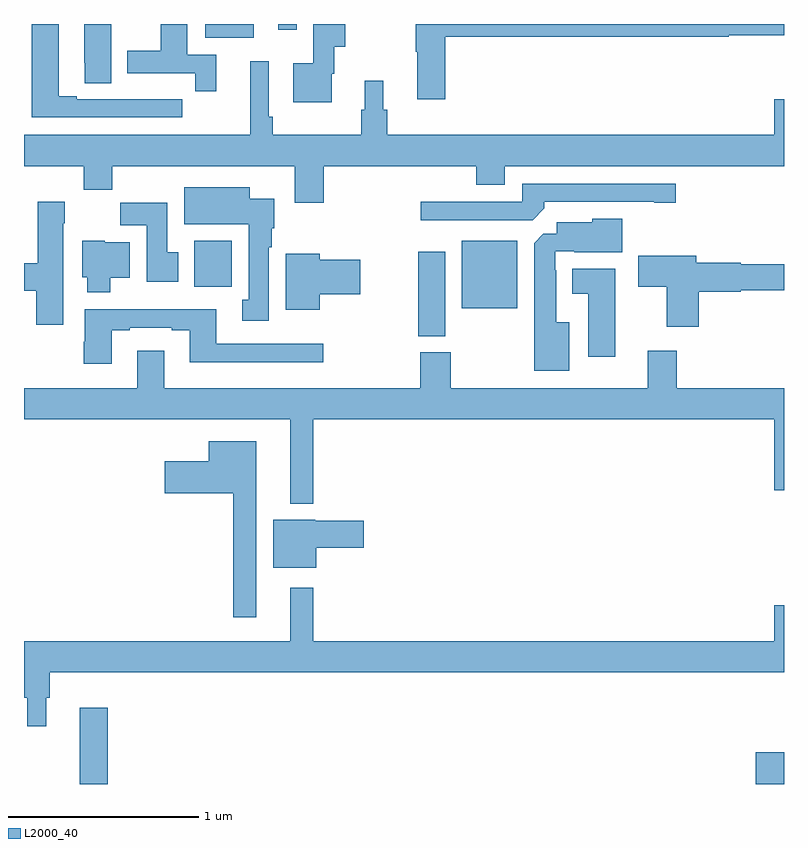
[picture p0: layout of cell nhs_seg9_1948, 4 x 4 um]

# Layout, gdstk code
import gdstk
lib = gdstk.Library(unit=1e-6, precision=1e-09)
def R(c, l, rs):  # rectangles x0, y0, x1, y1
    for r in rs: c.add(gdstk.rectangle(r[:2], r[2:], *l))
def P(c, l, *ps):  # polygons
    for p in ps: c.add(gdstk.Polygon(p, *l))
L2000_40 = (2000, 40)

nhs_seg9_1948 = lib.new_cell('nhs_seg9_1948')
R(nhs_seg9_1948, L2000_40, [(221.294,1194.5,221.441,1194.901), (224.85,1194.5,225,1194.666), (223.075,1196.857,223.216,1197.301), (223.304,1197.005,223.597,1197.358), (221.897,1197.116,222.094,1197.358), (221.954,1198.427,222.208,1198.5), (222.338,1198.47,222.435,1198.5)])
P(nhs_seg9_1948, L2000_40, [(222.011,1198.338),(221.86,1198.338),(221.86,1198.5),(221.72,1198.5),(221.72,1198.359),(221.543,1198.359),(221.543,1198.242),(221.902,1198.242),(221.902,1198.146),(222.011,1198.146)],
  [(222.621,1198.238),(222.634,1198.238),(222.634,1198.379),(222.69,1198.379),(222.69,1198.5),(222.523,1198.5),(222.523,1198.294),(222.416,1198.294),(222.416,1198.088),(222.621,1198.088)],
  [(223.217,1198.432),(224.71,1198.432),(224.71,1198.44),(225,1198.44),(225,1198.5),(223.063,1198.5),(223.063,1198.355),(223.07,1198.355),(223.07,1198.104),(223.217,1198.104)],
  [(221.458,1198.5),(221.318,1198.5),(221.318,1198.297),(221.319,1198.297),(221.319,1198.189),(221.458,1198.189)],
  [(221.833,1198.104),(221.72,1198.104),(221.72,1198.105),(221.554,1198.105),(221.554,1198.104),(221.278,1198.104),(221.278,1198.119),(221.182,1198.119),(221.182,1198.5),(221.042,1198.5),(221.042,1198.008),(221.833,1198.008)],
  [(222.578,1197.752),(223.379,1197.752),(223.379,1197.653),(223.531,1197.653),(223.531,1197.752),(225,1197.752),(225,1198.105),(224.948,1198.105),(224.948,1197.916),(222.911,1197.916),(222.911,1198.05),(222.892,1198.05),(222.892,1198.201),(222.794,1198.201),(222.794,1198.05),(222.775,1198.05),(222.775,1197.916),(222.308,1197.916),(222.308,1198.012),(222.288,1198.012),(222.288,1198.303),(222.191,1198.303),(222.191,1197.916),(221,1197.916),(221,1197.752),(221.314,1197.752),(221.314,1197.628),(221.465,1197.628),(221.465,1197.752),(222.425,1197.752),(222.425,1197.558),(222.578,1197.558)],
  [(223.739,1197.53),(223.739,1197.564),(224.318,1197.564),(224.318,1197.559),(224.431,1197.559),(224.431,1197.66),(223.623,1197.66),(223.623,1197.564),(223.089,1197.564),(223.089,1197.468),(223.677,1197.468)],
  [(222.289,1197.326),(222.304,1197.326),(222.304,1197.426),(222.316,1197.426),(222.316,1197.58),(222.187,1197.58),(222.187,1197.64),(221.843,1197.64),(221.843,1197.446),(222.182,1197.446),(222.182,1197.05),(222.149,1197.05),(222.149,1196.937),(222.289,1196.937)],
  [(221.206,1197.452),(221.214,1197.452),(221.214,1197.565),(221.072,1197.565),(221.072,1197.242),(221,1197.242),(221,1197.095),(221.065,1197.095),(221.065,1196.916),(221.206,1196.916)],
  [(221.812,1197.3),(221.755,1197.3),(221.755,1197.558),(221.506,1197.558),(221.506,1197.44),(221.645,1197.44),(221.645,1197.144),(221.812,1197.144)],
  [(223.87,1196.929),(223.801,1196.929),(223.801,1197.203),(223.797,1197.203),(223.797,1197.303),(223.897,1197.303),(223.897,1197.299),(224.149,1197.299),(224.149,1197.475),(223.992,1197.475),(223.992,1197.457),(223.805,1197.457),(223.805,1197.396),(223.734,1197.396),(223.685,1197.347),(223.685,1196.675),(223.87,1196.675)],
  [(221.455,1197.164),(221.557,1197.164),(221.557,1197.352),(221.424,1197.352),(221.424,1197.358),(221.306,1197.358),(221.306,1197.168),(221.333,1197.168),(221.333,1197.089),(221.455,1197.089)],
  [(222.556,1197.077),(222.769,1197.077),(222.769,1197.26),(222.556,1197.26),(222.556,1197.292),(222.377,1197.292),(222.377,1196.996),(222.556,1196.996)],
  [(224.552,1197.092),(224.772,1197.092),(224.772,1197.1),(225,1197.1),(225,1197.236),(224.772,1197.236),(224.772,1197.244),(224.539,1197.244),(224.539,1197.28),(224.232,1197.28),(224.232,1197.118),(224.384,1197.118),(224.384,1196.907),(224.552,1196.907)],
  [(224.113,1197.211),(223.886,1197.211),(223.886,1197.08),(223.97,1197.08),(223.97,1196.748),(224.113,1196.748)],
  [(221.461,1196.889),(221.557,1196.889),(221.557,1196.901),(221.777,1196.901),(221.777,1196.889),(221.873,1196.889),(221.873,1196.72),(222.574,1196.72),(222.574,1196.817),(222.013,1196.817),(222.013,1196.998),(221.321,1196.998),(221.321,1196.828),(221.314,1196.828),(221.314,1196.712),(221.461,1196.712)],
  [(222.523,1196.42),(224.948,1196.42),(224.948,1196.046),(225,1196.046),(225,1196.584),(224.435,1196.584),(224.435,1196.779),(224.282,1196.779),(224.282,1196.584),(223.245,1196.584),(223.245,1196.772),(223.085,1196.772),(223.085,1196.584),(221.737,1196.584),(221.737,1196.779),(221.597,1196.779),(221.597,1196.584),(221,1196.584),(221,1196.42),(222.401,1196.42),(222.401,1195.976),(222.523,1195.976)],
  [(222.223,1196.305),(221.972,1196.305),(221.972,1196.2),(221.742,1196.2),(221.742,1196.03),(222.102,1196.03),(222.102,1195.377),(222.223,1195.377)],
  [(222.538,1195.744),(222.787,1195.744),(222.787,1195.886),(222.534,1195.886),(222.534,1195.891),(222.311,1195.891),(222.311,1195.637),(222.538,1195.637)],
  [(221.116,1194.954),(221.135,1194.954),(221.135,1195.088),(225,1195.088),(225,1195.441),(224.948,1195.441),(224.948,1195.252),(222.523,1195.252),(222.523,1195.534),(222.401,1195.534),(222.401,1195.252),(221,1195.252),(221,1194.954),(221.018,1194.954),(221.018,1194.804),(221.116,1194.804)])

lib.write_gds('nhs_seg9_1948.gds')
